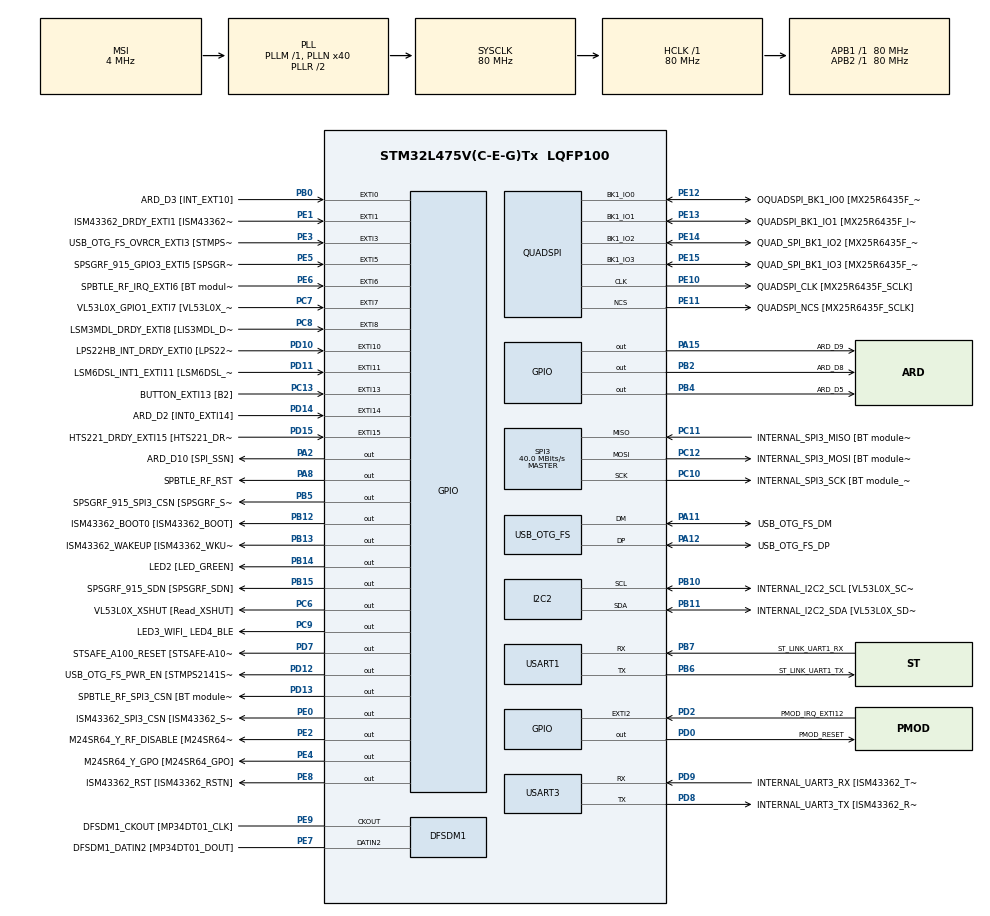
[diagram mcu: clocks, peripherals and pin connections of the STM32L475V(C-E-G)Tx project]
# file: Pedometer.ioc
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Dma.Request0=USART1_TX
Dma.USART1_TX.0.Direction=DMA_MEMORY_TO_PERIPH
Dma.USART1_TX.0.Instance=DMA1_Channel4
Dma.USART1_TX.0.MemDataAlignment=DMA_MDATAALIGN_BYTE
Dma.USART1_TX.0.MemInc=DMA_MINC_ENABLE
Dma.USART1_TX.0.Mode=DMA_NORMAL
Dma.USART1_TX.0.PeriphDataAlignment=DMA_PDATAALIGN_BYTE
Dma.USART1_TX.0.PeriphInc=DMA_PINC_DISABLE
Dma.USART1_TX.0.Priority=DMA_PRIORITY_LOW
I2C2.Timing=0x10909CEC
Mcu.Family=STM32L4
Mcu.Name=STM32L475V(C-E-G)Tx
Mcu.Package=LQFP100
NVIC.DMA1_Channel4_IRQn=true\:0\:0\:false\:false\:true\:false\:true
NVIC.EXTI15_10_IRQn=true\:0\:0\:false\:false\:true\:true\:true
NVIC.EXTI9_5_IRQn=true\:0\:0\:false\:false\:true\:true\:true
NVIC.PriorityGroup=NVIC_PRIORITYGROUP_4
NVIC.USART1_IRQn=true\:0\:0\:false\:false\:true\:true\:true
PA0.GPIO_Label=ARD_D1 [UART4_TX]
PA0.Signal=UART4_TX
PA1.GPIO_Label=ARD_D0 [UART4_RX]
PA1.Signal=UART4_RX
PA10.GPIO_Label=USB_OTG_FS_ID
PA10.Signal=USB_OTG_FS_ID
PA11.GPIO_Label=USB_OTG_FS_DM
PA11.Mode=Device_Only
PA11.Signal=USB_OTG_FS_DM
PA12.GPIO_Label=USB_OTG_FS_DP
PA12.Mode=Device_Only
PA12.Signal=USB_OTG_FS_DP
PA13\ (JTMS-SWDIO).GPIO_Label=SYS_JTMS_SWDIO
PA13\ (JTMS-SWDIO).Mode=Serial_Wire
PA13\ (JTMS-SWDIO).Signal=SYS_JTMS-SWDIO
PA14\ (JTCK-SWCLK).GPIO_Label=SYS_JTCK_SWCLK
PA14\ (JTCK-SWCLK).Mode=Serial_Wire
PA14\ (JTCK-SWCLK).Signal=SYS_JTCK-SWCLK
PA15\ (JTDI).GPIO_Label=ARD_D9
PA15\ (JTDI).Signal=GPIO_Output
PA2.GPIO_Label=ARD_D10 [SPI_SSN]
PA2.Signal=GPIO_Output
PA3.GPIO_Label=ARD_D4
PA3.Signal=S_TIM2_CH4
PA4.GPIO_Label=ARD_D7
PA4.Signal=ADCx_IN9
PA5.GPIO_Label=ARD_D13 [SPI1_SCK]
PA5.Signal=SPI1_SCK
PA6.GPIO_Label=ARD_D12 [SPI1_MISO]
PA6.Signal=SPI1_MISO
PA7.GPIO_Label=ARD_D11 [SPI1_MOSI]
PA7.Signal=SPI1_MOSI
PA8.GPIO_Label=SPBTLE_RF_RST
PA8.Signal=GPIO_Output
PA9.GPIO_Label=USB_OTG_FS_VBUS [STMPS2141STR_OUT]
PA9.Signal=USB_OTG_FS_VBUS
PB0.GPIO_Label=ARD_D3 [INT_EXT10]
PB0.Signal=GPXTI0
PB1.GPIO_Label=ARD_D6 [ADC1_IN6]
PB1.Signal=ADCx_IN16
PB10.GPIO_Label=INTERNAL_I2C2_SCL [VL53L0X_SCL]
PB10.Mode=I2C
PB10.Signal=I2C2_SCL
PB11.GPIO_Label=INTERNAL_I2C2_SDA [VL53L0X_SDA]
PB11.Mode=I2C
PB11.Signal=I2C2_SDA
PB12.GPIO_Label=ISM43362_BOOT0 [ISM43362_BOOT]
PB12.Signal=GPIO_Output
PB13.GPIO_Label=ISM43362_WAKEUP [ISM43362_WKUP]
PB13.Signal=GPIO_Output
PB14.GPIO_Label=LED2 [LED_GREEN]
PB14.Signal=GPIO_Output
PB15.GPIO_Label=SPSGRF_915_SDN [SPSGRF_SDN]
PB15.Signal=GPIO_Output
PB2.GPIO_Label=ARD_D8
PB2.Signal=GPIO_Output
PB3\ (JTDO-TRACESWO).GPIO_Label=SYS_JTD0_SWO
PB3\ (JTDO-TRACESWO).Signal=SYS_JTDO-SWO
PB4\ (NJTRST).GPIO_Label=ARD_D5
PB4\ (NJTRST).Signal=GPIO_Output
PB5.GPIO_Label=SPSGRF_915_SPI3_CSN [SPSGRF_SPI_CS]
PB5.PinState=GPIO_PIN_SET
PB5.Signal=GPIO_Output
PB6.GPIO_Label=ST_LINK_UART1_TX
PB6.Mode=Asynchronous
PB6.Signal=USART1_TX
PB7.GPIO_Label=ST_LINK_UART1_RX
PB7.Mode=Asynchronous
PB7.Signal=USART1_RX
PB8.GPIO_Label=ARD_D15 [I2C1_SCL]
PB8.Signal=I2C1_SCL
PB9.GPIO_Label=ARD_D14 [I2C1_SDA]
PB9.Signal=I2C1_SDA
PC0.GPIO_Label=ARD_A5 [ADC]
PC0.Signal=ADCx_IN1
PC1.GPIO_Label=ARD_A4 [ADC]
PC1.Signal=ADCx_IN2
PC10.GPIO_Label=INTERNAL_SPI3_SCK [BT module_SPI_SCLK] [ISM43362_SCK]
PC10.Mode=Full_Duplex_Master
PC10.Signal=SPI3_SCK
PC11.GPIO_Label=INTERNAL_SPI3_MISO [BT module_SPI_MISO] [ISM43362_MISO]
PC11.Mode=Full_Duplex_Master
PC11.Signal=SPI3_MISO
PC12.GPIO_Label=INTERNAL_SPI3_MOSI [BT module_SPI_MOSI] [ISM43362_MOSI]
PC12.Mode=Full_Duplex_Master
PC12.Signal=SPI3_MOSI
PC13.GPIO_Label=BUTTON_EXTI13 [B2]
PC13.GPIO_ModeDefaultEXTI=GPIO_MODE_IT_FALLING
PC13.Signal=GPXTI13
PC14-OSC32_IN\ (PC14).Mode=LSE-External-Oscillator
PC14-OSC32_IN\ (PC14).Signal=RCC_OSC32_IN
PC15-OSC32_OUT\ (PC15).Mode=LSE-External-Oscillator
PC15-OSC32_OUT\ (PC15).Signal=RCC_OSC32_OUT
PC2.GPIO_Label=ARD_A3 [ADC]
PC2.Signal=ADCx_IN3
PC3.GPIO_Label=ARD_A2 [ADC]
PC3.Signal=ADCx_IN4
PC4.GPIO_Label=ARD_A1 [ADC]
PC4.Signal=ADCx_IN13
PC5.GPIO_Label=ARD_A0 [ADC]
PC5.Signal=ADCx_IN14
PC6.GPIO_Label=VL53L0X_XSHUT [Read_XSHUT]
PC6.Signal=GPIO_Output
PC7.GPIO_Label=VL53L0X_GPIO1_EXTI7 [VL53L0X_GPIO1]
PC7.Signal=GPXTI7
PC8.GPIO_Label=LSM3MDL_DRDY_EXTI8 [LIS3MDL_DRDY]
PC8.Signal=GPXTI8
PC9.GPIO_Label=LED3_WIFI_ LED4_BLE
PC9.Signal=GPIO_Output
PD0.GPIO_Label=PMOD_RESET
PD0.Signal=GPIO_Output
PD1.GPIO_Label=PMOD_SPI2_SCK
PD1.Signal=SPI2_SCK
PD10.GPIO_Label=LPS22HB_INT_DRDY_EXTI0 [LPS22HB_INT_DRDY] 
PD10.Signal=GPXTI10
PD11.GPIO_Label=LSM6DSL_INT1_EXTI11 [LSM6DSL_INT1]
PD11.Signal=GPXTI11
PD12.GPIO_Label=USB_OTG_FS_PWR_EN [STMPS2141STR_EN]
PD12.Signal=GPIO_Output
PD13.GPIO_Label=SPBTLE_RF_SPI3_CSN [BT module_SPI_CS]
PD13.PinState=GPIO_PIN_SET
PD13.Signal=GPIO_Output
PD14.GPIO_Label=ARD_D2 [INT0_EXTI14]
PD14.Signal=GPXTI14
PD15.GPIO_Label=HTS221_DRDY_EXTI15 [HTS221_DRDY]
PD15.Signal=GPXTI15
PD2.GPIO_Label=PMOD_IRQ_EXTI12
PD2.Signal=GPXTI2
PD3.GPIO_Label=PMOD_UART2_CTS
PD3.Signal=USART2_CTS
PD4.GPIO_Label=PMOD_UART2_RTS
PD4.Signal=USART2_RTS
PD5.GPIO_Label=PMOD_UART2_TX
PD5.Signal=USART2_TX
PD6.GPIO_Label=PMOD_UART2_RX
PD6.Signal=USART2_RX
PD7.GPIO_Label=STSAFE_A100_RESET [STSAFE-A100_RESET]
PD7.Signal=GPIO_Output
PD8.GPIO_Label=INTERNAL_UART3_TX [ISM43362_RX]
PD8.Mode=Asynchronous
PD8.Signal=USART3_TX
PD9.GPIO_Label=INTERNAL_UART3_RX [ISM43362_TX]
PD9.Mode=Asynchronous
PD9.Signal=USART3_RX
PE0.GPIO_Label=ISM43362_SPI3_CSN [ISM43362_SSN]
PE0.PinState=GPIO_PIN_SET
PE0.Signal=GPIO_Output
PE1.GPIO_Label=ISM43362_DRDY_EXTI1 [ISM43362_DATARDY]
PE1.Signal=GPXTI1
PE10.GPIO_Label=QUADSPI_CLK [MX25R6435F_SCLK]
PE10.Mode=Single Bank
PE10.Signal=QUADSPI_CLK
PE11.GPIO_Label=QUADSPI_NCS [MX25R6435F_SCLK]
PE11.Mode=Single Bank
PE11.Signal=QUADSPI_NCS
PE12.GPIO_Label=OQUADSPI_BK1_IO0 [MX25R6435F_IO0]
PE12.Mode=Single Bank
PE12.Signal=QUADSPI_BK1_IO0
PE13.GPIO_Label=QUADSPI_BK1_IO1 [MX25R6435F_IO1]
PE13.Mode=Single Bank
PE13.Signal=QUADSPI_BK1_IO1
PE14.GPIO_Label=QUAD_SPI_BK1_IO2 [MX25R6435F_IO2]
PE14.Mode=Single Bank
PE14.Signal=QUADSPI_BK1_IO2
PE15.GPIO_Label=QUAD_SPI_BK1_IO3 [MX25R6435F_IO3]
PE15.Mode=Single Bank
PE15.Signal=QUADSPI_BK1_IO3
PE2.GPIO_Label=M24SR64_Y_RF_DISABLE [M24SR64_RFDIS]
PE2.Signal=GPIO_Output
PE3.GPIO_Label=USB_OTG_FS_OVRCR_EXTI3 [STMPS2141STR_FAULT]
PE3.Signal=GPXTI3
PE4.GPIO_Label=M24SR64_Y_GPO [M24SR64_GPO]
PE4.Signal=GPIO_Output
PE5.GPIO_Label=SPSGRF_915_GPIO3_EXTI5 [SPSGRF_GPIO_3]
PE5.Signal=GPXTI5
PE6.GPIO_Label=SPBTLE_RF_IRQ_EXTI6 [BT module_SPI_IRQ]
PE6.Signal=GPXTI6
PE7.GPIO_Label=DFSDM1_DATIN2 [MP34DT01_DOUT]
PE7.Signal=S_DATAIN2DFSDM1
PE8.GPIO_Label=ISM43362_RST [ISM43362_RSTN]
PE8.Signal=GPIO_Output
PE9.GPIO_Label=DFSDM1_CKOUT [MP34DT01_CLK]
PE9.Signal=S_CKOUTDFSDM1
ProjectManager.HeapSize=0x200
ProjectManager.StackSize=0x400
ProjectManager.TargetToolchain=STM32CubeIDE
RCC.ADCFreq_Value=48000000
RCC.AHBFreq_Value=80000000
RCC.APB1Freq_Value=80000000
RCC.APB1TimFreq_Value=80000000
RCC.APB2Freq_Value=80000000
RCC.APB2TimFreq_Value=80000000
RCC.CortexFreq_Value=80000000
RCC.HCLKFreq_Value=80000000
RCC.HSE_VALUE=8000000
RCC.HSI_VALUE=16000000
RCC.MSI_VALUE=4000000
RCC.PLLN=40
RCC.PLLSAI1N=24
RCC.SYSCLKFreq_VALUE=80000000
RCC.SYSCLKSource=RCC_SYSCLKSOURCE_PLLCLK
RCC.USBFreq_Value=48000000
RCC.VCOOutputFreq_Value=160000000
SH.ADCx_IN1.0=ADC1_IN1
SH.ADCx_IN13.0=ADC1_IN13
SH.ADCx_IN14.0=ADC1_IN14
SH.ADCx_IN16.0=ADC1_IN16
SH.ADCx_IN2.0=ADC1_IN2
SH.ADCx_IN3.0=ADC1_IN3
SH.ADCx_IN4.0=ADC1_IN4
SH.ADCx_IN9.0=ADC1_IN9
SH.S_CKOUTDFSDM1.0=DFSDM1_CKOUT,CKOUT
SH.S_CKOUTDFSDM1.1=DFSDM1_CKOUT,PDM_SPI_Input_from_ch12_and_Internal_Clock
SH.S_DATAIN2DFSDM1.0=DFSDM1_DATIN2,PDM_SPI_Input_from_ch12_and_Internal_Clock
SH.S_TIM2_CH4.0=TIM2_CH4
SPI3.CalculateBaudRate=40.0 MBits/s
SPI3.Direction=SPI_DIRECTION_2LINES
SPI3.Mode=SPI_MODE_MASTER
SPI3.VirtualType=VM_MASTER
USART1.VirtualMode-Asynchronous=VM_ASYNC
USART3.VirtualMode-Asynchronous=VM_ASYNC
USB_OTG_FS.VirtualMode=Device_Only
board=B-L475E-IOT01A1

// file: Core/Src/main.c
/* USER CODE BEGIN Header */
/**
 * *****************************************************************************
 * Name: Jonathan Dean
 * Pedometer testing
 * Program Summary:
 * This program reads Temperature and Humidity values. When a button is pressed
 * (PC13), the program switches to reading Accelerometer values. When pressed
 * again, it switches back to reading Temperature and Humidity.
 * *****************************************************************************
  ******************************************************************************
  * @file           : main.c
  * @brief          : Main program body
  ******************************************************************************
  * @attention
  *
  * <h2><center>&copy; Copyright (c) 2020 STMicroelectronics.
  * All rights reserved.</center></h2>
  *
  * This software component is licensed by ST under BSD 3-Clause license,
  * the "License"; You may not use this file except in compliance with the
  * License. You may obtain a copy of the License at:
  *                        opensource.org/licenses/BSD-3-Clause
  *
  ******************************************************************************
  */
/* USER CODE END Header */
#include "main.h"

/* USER CODE BEGIN Includes */
#include <stdint.h>
#include "DebugUART.h"
#include "Time.h" // Custom Time Library"
#include "SensorManager.h"
#include "Pedometer.h"

/* USER CODE END Includes */

/* USER CODE BEGIN PD */
#define BUTTON_DEBOUNCE_TIME_MS MS(100)
/* USER CODE END PD */

DFSDM_Channel_HandleTypeDef hdfsdm1_channel1;

I2C_HandleTypeDef hi2c2;

QSPI_HandleTypeDef hqspi;

SPI_HandleTypeDef hspi3;

UART_HandleTypeDef huart1;
UART_HandleTypeDef huart3;
DMA_HandleTypeDef hdma_usart1_tx;

PCD_HandleTypeDef hpcd_USB_OTG_FS;

void SystemClock_Config(void);
static void MX_GPIO_Init(void);
static void MX_DMA_Init(void);
static void MX_DFSDM1_Init(void);
static void MX_I2C2_Init(void);
static void MX_QUADSPI_Init(void);
static void MX_SPI3_Init(void);
static void MX_USART1_UART_Init(void);
static void MX_USART3_UART_Init(void);
static void MX_USB_OTG_FS_PCD_Init(void);

int main(void)
{

  /* MCU Configuration--------------------------------------------------------*/

  /* Reset of all peripherals, Initializes the Flash interface and the Systick. */
  HAL_Init();

  /* Configure the system clock */
  SystemClock_Config();

  /* USER CODE BEGIN SysInit */
  Time_Init(); // initialize timer
  /* USER CODE END SysInit */

  /* Initialize all configured peripherals */
  MX_GPIO_Init();
  MX_DMA_Init();
  MX_DFSDM1_Init();
  MX_I2C2_Init();
  MX_QUADSPI_Init();
  MX_SPI3_Init();
  MX_USART1_UART_Init();
  MX_USART3_UART_Init();
  MX_USB_OTG_FS_PCD_Init();
  /* USER CODE BEGIN 2 */
  /*if (WIFI_Init() == WIFI_STATUS_OK)
  {
  // Remember not to commit this with actual credentials
	  if (WIFI_Connect("SSID","PASS",WIFI_ECN_WPA2_PSK) != WIFI_STATUS_OK)
	  {
		  uint8_t TARGET_IP[4] = {XXX,XXX,XXX,XXX};
		  if (WIFI_OpenClientConnection(SOC_NUMBER, WIFI_TCP_PROTOCOL, "XXXXXXX", TARGET_IP, PORT, L_PORT) == WIFI_STATUS_OK)
		  {

		  }
	  }
  }
  else
  {
	// Wifi Failed to Initialize
  }*/
  DebugUARTInit(&huart1); // initialize uart debug readout

  //SensorInit(STTemperature);
  //SensorInit(STHumidity);
  //SensorInit(STAccelerometerX);
  //SensorInit(STAccelerometerY);
  //SensorInit(STAccelerometerZ);
  //SensorInit(STGyroscopeX);
  //SensorInit(STGyroscopeY);
  //SensorInit(STGyroscopeZ);
  PedometerInit();
  //EnableSensor(STTemperature);
  //EnableSensor(STHumidity);

  /* USER CODE END 2 */

  /* Infinite loop */
  while (1)
  {

    /* USER CODE BEGIN 3 */

	  SensorTask();
	  PedometerTask();

  }
  /* USER CODE END 3 */
}

void SystemClock_Config(void)
{
  RCC_OscInitTypeDef RCC_OscInitStruct = {0};
  RCC_ClkInitTypeDef RCC_ClkInitStruct = {0};
  RCC_PeriphCLKInitTypeDef PeriphClkInit = {0};

  /** Configure LSE Drive Capability
  */
  HAL_PWR_EnableBkUpAccess();
  __HAL_RCC_LSEDRIVE_CONFIG(RCC_LSEDRIVE_LOW);
  /** Initializes the RCC Oscillators according to the specified parameters
  * in the RCC_OscInitTypeDef structure.
  */
  RCC_OscInitStruct.OscillatorType = RCC_OSCILLATORTYPE_LSE|RCC_OSCILLATORTYPE_MSI;
  RCC_OscInitStruct.LSEState = RCC_LSE_ON;
  RCC_OscInitStruct.MSIState = RCC_MSI_ON;
  RCC_OscInitStruct.MSICalibrationValue = 0;
  RCC_OscInitStruct.MSIClockRange = RCC_MSIRANGE_6;
  RCC_OscInitStruct.PLL.PLLState = RCC_PLL_ON;
  RCC_OscInitStruct.PLL.PLLSource = RCC_PLLSOURCE_MSI;
  RCC_OscInitStruct.PLL.PLLM = 1;
  RCC_OscInitStruct.PLL.PLLN = 40;
  RCC_OscInitStruct.PLL.PLLP = RCC_PLLP_DIV7;
  RCC_OscInitStruct.PLL.PLLQ = RCC_PLLQ_DIV2;
  RCC_OscInitStruct.PLL.PLLR = RCC_PLLR_DIV2;
  if (HAL_RCC_OscConfig(&RCC_OscInitStruct) != HAL_OK)
  {
    Error_Handler();
  }
  /** Initializes the CPU, AHB and APB buses clocks
  */
  RCC_ClkInitStruct.ClockType = RCC_CLOCKTYPE_HCLK|RCC_CLOCKTYPE_SYSCLK
                              |RCC_CLOCKTYPE_PCLK1|RCC_CLOCKTYPE_PCLK2;
  RCC_ClkInitStruct.SYSCLKSource = RCC_SYSCLKSOURCE_PLLCLK;
  RCC_ClkInitStruct.AHBCLKDivider = RCC_SYSCLK_DIV1;
  RCC_ClkInitStruct.APB1CLKDivider = RCC_HCLK_DIV1;
  RCC_ClkInitStruct.APB2CLKDivider = RCC_HCLK_DIV1;

  if (HAL_RCC_ClockConfig(&RCC_ClkInitStruct, FLASH_LATENCY_4) != HAL_OK)
  {
    Error_Handler();
  }
  PeriphClkInit.PeriphClockSelection = RCC_PERIPHCLK_USART1|RCC_PERIPHCLK_USART3
                              |RCC_PERIPHCLK_I2C2|RCC_PERIPHCLK_DFSDM1
                              |RCC_PERIPHCLK_USB;
  PeriphClkInit.Usart1ClockSelection = RCC_USART1CLKSOURCE_PCLK2;
  PeriphClkInit.Usart3ClockSelection = RCC_USART3CLKSOURCE_PCLK1;
  PeriphClkInit.I2c2ClockSelection = RCC_I2C2CLKSOURCE_PCLK1;
  PeriphClkInit.Dfsdm1ClockSelection = RCC_DFSDM1CLKSOURCE_PCLK;
  PeriphClkInit.UsbClockSelection = RCC_USBCLKSOURCE_PLLSAI1;
  PeriphClkInit.PLLSAI1.PLLSAI1Source = RCC_PLLSOURCE_MSI;
  PeriphClkInit.PLLSAI1.PLLSAI1M = 1;
  PeriphClkInit.PLLSAI1.PLLSAI1N = 24;
  PeriphClkInit.PLLSAI1.PLLSAI1P = RCC_PLLP_DIV7;
  PeriphClkInit.PLLSAI1.PLLSAI1Q = RCC_PLLQ_DIV2;
  PeriphClkInit.PLLSAI1.PLLSAI1R = RCC_PLLR_DIV2;
  PeriphClkInit.PLLSAI1.PLLSAI1ClockOut = RCC_PLLSAI1_48M2CLK;
  if (HAL_RCCEx_PeriphCLKConfig(&PeriphClkInit) != HAL_OK)
  {
    Error_Handler();
  }
  /** Configure the main internal regulator output voltage
  */
  if (HAL_PWREx_ControlVoltageScaling(PWR_REGULATOR_VOLTAGE_SCALE1) != HAL_OK)
  {
    Error_Handler();
  }
  /** Enable MSI Auto calibration
  */
  HAL_RCCEx_EnableMSIPLLMode();
}

static void MX_DFSDM1_Init(void)
{

  hdfsdm1_channel1.Instance = DFSDM1_Channel1;
  hdfsdm1_channel1.Init.OutputClock.Activation = ENABLE;
  hdfsdm1_channel1.Init.OutputClock.Selection = DFSDM_CHANNEL_OUTPUT_CLOCK_SYSTEM;
  hdfsdm1_channel1.Init.OutputClock.Divider = 2;
  hdfsdm1_channel1.Init.Input.Multiplexer = DFSDM_CHANNEL_EXTERNAL_INPUTS;
  hdfsdm1_channel1.Init.Input.DataPacking = DFSDM_CHANNEL_STANDARD_MODE;
  hdfsdm1_channel1.Init.Input.Pins = DFSDM_CHANNEL_FOLLOWING_CHANNEL_PINS;
  hdfsdm1_channel1.Init.SerialInterface.Type = DFSDM_CHANNEL_SPI_RISING;
  hdfsdm1_channel1.Init.SerialInterface.SpiClock = DFSDM_CHANNEL_SPI_CLOCK_INTERNAL;
  hdfsdm1_channel1.Init.Awd.FilterOrder = DFSDM_CHANNEL_FASTSINC_ORDER;
  hdfsdm1_channel1.Init.Awd.Oversampling = 1;
  hdfsdm1_channel1.Init.Offset = 0;
  hdfsdm1_channel1.Init.RightBitShift = 0x00;
  if (HAL_DFSDM_ChannelInit(&hdfsdm1_channel1) != HAL_OK)
  {
    Error_Handler();
  }

}

static void MX_I2C2_Init(void)
{

  hi2c2.Instance = I2C2;
  hi2c2.Init.Timing = 0x10909CEC;
  hi2c2.Init.OwnAddress1 = 0;
  hi2c2.Init.AddressingMode = I2C_ADDRESSINGMODE_7BIT;
  hi2c2.Init.DualAddressMode = I2C_DUALADDRESS_DISABLE;
  hi2c2.Init.OwnAddress2 = 0;
  hi2c2.Init.OwnAddress2Masks = I2C_OA2_NOMASK;
  hi2c2.Init.GeneralCallMode = I2C_GENERALCALL_DISABLE;
  hi2c2.Init.NoStretchMode = I2C_NOSTRETCH_DISABLE;
  if (HAL_I2C_Init(&hi2c2) != HAL_OK)
  {
    Error_Handler();
  }
  /** Configure Analogue filter
  */
  if (HAL_I2CEx_ConfigAnalogFilter(&hi2c2, I2C_ANALOGFILTER_ENABLE) != HAL_OK)
  {
    Error_Handler();
  }
  /** Configure Digital filter
  */
  if (HAL_I2CEx_ConfigDigitalFilter(&hi2c2, 0) != HAL_OK)
  {
    Error_Handler();
  }

}

static void MX_QUADSPI_Init(void)
{

  /* QUADSPI parameter configuration*/
  hqspi.Instance = QUADSPI;
  hqspi.Init.ClockPrescaler = 255;
  hqspi.Init.FifoThreshold = 1;
  hqspi.Init.SampleShifting = QSPI_SAMPLE_SHIFTING_NONE;
  hqspi.Init.FlashSize = 1;
  hqspi.Init.ChipSelectHighTime = QSPI_CS_HIGH_TIME_1_CYCLE;
  hqspi.Init.ClockMode = QSPI_CLOCK_MODE_0;
  if (HAL_QSPI_Init(&hqspi) != HAL_OK)
  {
    Error_Handler();
  }

}

static void MX_SPI3_Init(void)
{

  /* SPI3 parameter configuration*/
  hspi3.Instance = SPI3;
  hspi3.Init.Mode = SPI_MODE_MASTER;
  hspi3.Init.Direction = SPI_DIRECTION_2LINES;
  hspi3.Init.DataSize = SPI_DATASIZE_4BIT;
  hspi3.Init.CLKPolarity = SPI_POLARITY_LOW;
  hspi3.Init.CLKPhase = SPI_PHASE_1EDGE;
  hspi3.Init.NSS = SPI_NSS_SOFT;
  hspi3.Init.BaudRatePrescaler = SPI_BAUDRATEPRESCALER_2;
  hspi3.Init.FirstBit = SPI_FIRSTBIT_MSB;
  hspi3.Init.TIMode = SPI_TIMODE_DISABLE;
  hspi3.Init.CRCCalculation = SPI_CRCCALCULATION_DISABLE;
  hspi3.Init.CRCPolynomial = 7;
  hspi3.Init.CRCLength = SPI_CRC_LENGTH_DATASIZE;
  hspi3.Init.NSSPMode = SPI_NSS_PULSE_ENABLE;
  if (HAL_SPI_Init(&hspi3) != HAL_OK)
  {
    Error_Handler();
  }

}

static void MX_USART1_UART_Init(void)
{

  huart1.Instance = USART1;
  huart1.Init.BaudRate = 115200;
  huart1.Init.WordLength = UART_WORDLENGTH_8B;
  huart1.Init.StopBits = UART_STOPBITS_1;
  huart1.Init.Parity = UART_PARITY_NONE;
  huart1.Init.Mode = UART_MODE_TX_RX;
  huart1.Init.HwFlowCtl = UART_HWCONTROL_NONE;
  huart1.Init.OverSampling = UART_OVERSAMPLING_16;
  huart1.Init.OneBitSampling = UART_ONE_BIT_SAMPLE_DISABLE;
  huart1.AdvancedInit.AdvFeatureInit = UART_ADVFEATURE_NO_INIT;
  if (HAL_UART_Init(&huart1) != HAL_OK)
  {
    Error_Handler();
  }

}

static void MX_USART3_UART_Init(void)
{

  huart3.Instance = USART3;
  huart3.Init.BaudRate = 115200;
  huart3.Init.WordLength = UART_WORDLENGTH_8B;
  huart3.Init.StopBits = UART_STOPBITS_1;
  huart3.Init.Parity = UART_PARITY_NONE;
  huart3.Init.Mode = UART_MODE_TX_RX;
  huart3.Init.HwFlowCtl = UART_HWCONTROL_NONE;
  huart3.Init.OverSampling = UART_OVERSAMPLING_16;
  huart3.Init.OneBitSampling = UART_ONE_BIT_SAMPLE_DISABLE;
  huart3.AdvancedInit.AdvFeatureInit = UART_ADVFEATURE_NO_INIT;
  if (HAL_UART_Init(&huart3) != HAL_OK)
  {
    Error_Handler();
  }

}

static void MX_USB_OTG_FS_PCD_Init(void)
{

  hpcd_USB_OTG_FS.Instance = USB_OTG_FS;
  hpcd_USB_OTG_FS.Init.dev_endpoints = 6;
  hpcd_USB_OTG_FS.Init.speed = PCD_SPEED_FULL;
  hpcd_USB_OTG_FS.Init.phy_itface = PCD_PHY_EMBEDDED;
  hpcd_USB_OTG_FS.Init.Sof_enable = DISABLE;
  hpcd_USB_OTG_FS.Init.low_power_enable = DISABLE;
  hpcd_USB_OTG_FS.Init.lpm_enable = DISABLE;
  hpcd_USB_OTG_FS.Init.battery_charging_enable = DISABLE;
  hpcd_USB_OTG_FS.Init.use_dedicated_ep1 = DISABLE;
  hpcd_USB_OTG_FS.Init.vbus_sensing_enable = DISABLE;
  if (HAL_PCD_Init(&hpcd_USB_OTG_FS) != HAL_OK)
  {
    Error_Handler();
  }

}

static void MX_DMA_Init(void)
{

  /* DMA controller clock enable */
  __HAL_RCC_DMA1_CLK_ENABLE();

  /* DMA interrupt init */
  /* DMA1_Channel4_IRQn interrupt configuration */
  HAL_NVIC_SetPriority(DMA1_Channel4_IRQn, 0, 0);
  HAL_NVIC_EnableIRQ(DMA1_Channel4_IRQn);

}

static void MX_GPIO_Init(void)
{
  GPIO_InitTypeDef GPIO_InitStruct = {0};

  /* GPIO Ports Clock Enable */
  __HAL_RCC_GPIOE_CLK_ENABLE();
  __HAL_RCC_GPIOC_CLK_ENABLE();
  __HAL_RCC_GPIOH_CLK_ENABLE();
  __HAL_RCC_GPIOA_CLK_ENABLE();
  __HAL_RCC_GPIOB_CLK_ENABLE();
  __HAL_RCC_GPIOD_CLK_ENABLE();

  /*Configure GPIO pin Output Level */
  HAL_GPIO_WritePin(GPIOE, M24SR64_Y_RF_DISABLE_Pin|M24SR64_Y_GPO_Pin|ISM43362_RST_Pin, GPIO_PIN_RESET);

  /*Configure GPIO pin Output Level */
  HAL_GPIO_WritePin(GPIOA, ARD_D10_Pin|SPBTLE_RF_RST_Pin|ARD_D9_Pin, GPIO_PIN_RESET);

  /*Configure GPIO pin Output Level */
  HAL_GPIO_WritePin(GPIOB, ARD_D8_Pin|ISM43362_BOOT0_Pin|ISM43362_WAKEUP_Pin|LED2_Pin
                          |SPSGRF_915_SDN_Pin|ARD_D5_Pin, GPIO_PIN_RESET);

  /*Configure GPIO pin Output Level */
  HAL_GPIO_WritePin(GPIOD, USB_OTG_FS_PWR_EN_Pin|PMOD_RESET_Pin|STSAFE_A100_RESET_Pin, GPIO_PIN_RESET);

  /*Configure GPIO pin Output Level */
  HAL_GPIO_WritePin(SPBTLE_RF_SPI3_CSN_GPIO_Port, SPBTLE_RF_SPI3_CSN_Pin, GPIO_PIN_SET);

  /*Configure GPIO pin Output Level */
  HAL_GPIO_WritePin(GPIOC, VL53L0X_XSHUT_Pin|LED3_WIFI__LED4_BLE_Pin, GPIO_PIN_RESET);

  /*Configure GPIO pin Output Level */
  HAL_GPIO_WritePin(SPSGRF_915_SPI3_CSN_GPIO_Port, SPSGRF_915_SPI3_CSN_Pin, GPIO_PIN_SET);

  /*Configure GPIO pin Output Level */
  HAL_GPIO_WritePin(ISM43362_SPI3_CSN_GPIO_Port, ISM43362_SPI3_CSN_Pin, GPIO_PIN_SET);

  /*Configure GPIO pins : M24SR64_Y_RF_DISABLE_Pin M24SR64_Y_GPO_Pin ISM43362_RST_Pin ISM43362_SPI3_CSN_Pin */
  GPIO_InitStruct.Pin = M24SR64_Y_RF_DISABLE_Pin|M24SR64_Y_GPO_Pin|ISM43362_RST_Pin|ISM43362_SPI3_CSN_Pin;
  GPIO_InitStruct.Mode = GPIO_MODE_OUTPUT_PP;
  GPIO_InitStruct.Pull = GPIO_NOPULL;
  GPIO_InitStruct.Speed = GPIO_SPEED_FREQ_LOW;
  HAL_GPIO_Init(GPIOE, &GPIO_InitStruct);

  /*Configure GPIO pins : USB_OTG_FS_OVRCR_EXTI3_Pin SPSGRF_915_GPIO3_EXTI5_Pin SPBTLE_RF_IRQ_EXTI6_Pin ISM43362_DRDY_EXTI1_Pin */
  GPIO_InitStruct.Pin = USB_OTG_FS_OVRCR_EXTI3_Pin|SPSGRF_915_GPIO3_EXTI5_Pin|SPBTLE_RF_IRQ_EXTI6_Pin|ISM43362_DRDY_EXTI1_Pin;
  GPIO_InitStruct.Mode = GPIO_MODE_IT_RISING;
  GPIO_InitStruct.Pull = GPIO_NOPULL;
  HAL_GPIO_Init(GPIOE, &GPIO_InitStruct);

  /*Configure GPIO pin : BUTTON_EXTI13_Pin */
  GPIO_InitStruct.Pin = BUTTON_EXTI13_Pin;
  GPIO_InitStruct.Mode = GPIO_MODE_IT_FALLING;
  GPIO_InitStruct.Pull = GPIO_NOPULL;
  HAL_GPIO_Init(BUTTON_EXTI13_GPIO_Port, &GPIO_InitStruct);

  /*Configure GPIO pins : PH0 PH1 */
  GPIO_InitStruct.Pin = GPIO_PIN_0|GPIO_PIN_1;
  GPIO_InitStruct.Mode = GPIO_MODE_ANALOG;
  GPIO_InitStruct.Pull = GPIO_NOPULL;
  HAL_GPIO_Init(GPIOH, &GPIO_InitStruct);

  /*Configure GPIO pins : ARD_A5_Pin ARD_A4_Pin ARD_A3_Pin ARD_A2_Pin
                           ARD_A1_Pin ARD_A0_Pin */
  GPIO_InitStruct.Pin = ARD_A5_Pin|ARD_A4_Pin|ARD_A3_Pin|ARD_A2_Pin
                          |ARD_A1_Pin|ARD_A0_Pin;
  GPIO_InitStruct.Mode = GPIO_MODE_ANALOG_ADC_CONTROL;
  GPIO_InitStruct.Pull = GPIO_NOPULL;
  HAL_GPIO_Init(GPIOC, &GPIO_InitStruct);

  /*Configure GPIO pins : ARD_D1_Pin ARD_D0_Pin */
  GPIO_InitStruct.Pin = ARD_D1_Pin|ARD_D0_Pin;
  GPIO_InitStruct.Mode = GPIO_MODE_AF_PP;
  GPIO_InitStruct.Pull = GPIO_NOPULL;
  GPIO_InitStruct.Speed = GPIO_SPEED_FREQ_VERY_HIGH;
  GPIO_InitStruct.Alternate = GPIO_AF8_UART4;
  HAL_GPIO_Init(GPIOA, &GPIO_InitStruct);

  /*Configure GPIO pins : ARD_D10_Pin SPBTLE_RF_RST_Pin ARD_D9_Pin */
  GPIO_InitStruct.Pin = ARD_D10_Pin|SPBTLE_RF_RST_Pin|ARD_D9_Pin;
  GPIO_InitStruct.Mode = GPIO_MODE_OUTPUT_PP;
  GPIO_InitStruct.Pull = GPIO_NOPULL;
  GPIO_InitStruct.Speed = GPIO_SPEED_FREQ_LOW;
  HAL_GPIO_Init(GPIOA, &GPIO_InitStruct);

  /*Configure GPIO pin : ARD_D4_Pin */
  GPIO_InitStruct.Pin = ARD_D4_Pin;
  GPIO_InitStruct.Mode = GPIO_MODE_AF_PP;
  GPIO_InitStruct.Pull = GPIO_NOPULL;
  GPIO_InitStruct.Speed = GPIO_SPEED_FREQ_LOW;
  GPIO_InitStruct.Alternate = GPIO_AF1_TIM2;
  HAL_GPIO_Init(ARD_D4_GPIO_Port, &GPIO_InitStruct);

  /*Configure GPIO pin : ARD_D7_Pin */
  GPIO_InitStruct.Pin = ARD_D7_Pin;
  GPIO_InitStruct.Mode = GPIO_MODE_ANALOG_ADC_CONTROL;
  GPIO_InitStruct.Pull = GPIO_NOPULL;
  HAL_GPIO_Init(ARD_D7_GPIO_Port, &GPIO_InitStruct);

  /*Configure GPIO pins : ARD_D13_Pin ARD_D12_Pin ARD_D11_Pin */
  GPIO_InitStruct.Pin = ARD_D13_Pin|ARD_D12_Pin|ARD_D11_Pin;
  GPIO_InitStruct.Mode = GPIO_MODE_AF_PP;
  GPIO_InitStruct.Pull = GPIO_NOPULL;
  GPIO_InitStruct.Speed = GPIO_SPEED_FREQ_VERY_HIGH;
  GPIO_InitStruct.Alternate = GPIO_AF5_SPI1;
  HAL_GPIO_Init(GPIOA, &GPIO_InitStruct);

  /*Configure GPIO pin : ARD_D3_Pin */
  GPIO_InitStruct.Pin = ARD_D3_Pin;
  GPIO_InitStruct.Mode = GPIO_MODE_IT_RISING;
  GPIO_InitStruct.Pull = GPIO_NOPULL;
  HAL_GPIO_Init(ARD_D3_GPIO_Port, &GPIO_InitStruct);

  /*Configure GPIO pin : ARD_D6_Pin */
  GPIO_InitStruct.Pin = ARD_D6_Pin;
  GPIO_InitStruct.Mode = GPIO_MODE_ANALOG_ADC_CONTROL;
  GPIO_InitStruct.Pull = GPIO_NOPULL;
  HAL_GPIO_Init(ARD_D6_GPIO_Port, &GPIO_InitStruct);

  /*Configure GPIO pins : ARD_D8_Pin ISM43362_BOOT0_Pin ISM43362_WAKEUP_Pin LED2_Pin
                           SPSGRF_915_SDN_Pin ARD_D5_Pin SPSGRF_915_SPI3_CSN_Pin */
  GPIO_InitStruct.Pin = ARD_D8_Pin|ISM43362_BOOT0_Pin|ISM43362_WAKEUP_Pin|LED2_Pin
                          |SPSGRF_915_SDN_Pin|ARD_D5_Pin|SPSGRF_915_SPI3_CSN_Pin;
  GPIO_InitStruct.Mode = GPIO_MODE_OUTPUT_PP;
  GPIO_InitStruct.Pull = GPIO_NOPULL;
  GPIO_InitStruct.Speed = GPIO_SPEED_FREQ_LOW;
  HAL_GPIO_Init(GPIOB, &GPIO_InitStruct);

  /*Configure GPIO pins : LPS22HB_INT_DRDY_EXTI0_Pin LSM6DSL_INT1_EXTI11_Pin ARD_D2_Pin HTS221_DRDY_EXTI15_Pin
                           PMOD_IRQ_EXTI12_Pin */
  GPIO_InitStruct.Pin = LPS22HB_INT_DRDY_EXTI0_Pin|LSM6DSL_INT1_EXTI11_Pin|ARD_D2_Pin|HTS221_DRDY_EXTI15_Pin
                          |PMOD_IRQ_EXTI12_Pin;
  GPIO_InitStruct.Mode = GPIO_MODE_IT_RISING;
  GPIO_InitStruct.Pull = GPIO_NOPULL;
  HAL_GPIO_Init(GPIOD, &GPIO_InitStruct);

  /*Configure GPIO pins : USB_OTG_FS_PWR_EN_Pin SPBTLE_RF_SPI3_CSN_Pin PMOD_RESET_Pin STSAFE_A100_RESET_Pin */
  GPIO_InitStruct.Pin = USB_OTG_FS_PWR_EN_Pin|SPBTLE_RF_SPI3_CSN_Pin|PMOD_RESET_Pin|STSAFE_A100_RESET_Pin;
  GPIO_InitStruct.Mode = GPIO_MODE_OUTPUT_PP;
  GPIO_InitStruct.Pull = GPIO_NOPULL;
  GPIO_InitStruct.Speed = GPIO_SPEED_FREQ_LOW;
  HAL_GPIO_Init(GPIOD, &GPIO_InitStruct);

  /*Configure GPIO pins : VL53L0X_XSHUT_Pin LED3_WIFI__LED4_BLE_Pin */
  GPIO_InitStruct.Pin = VL53L0X_XSHUT_Pin|LED3_WIFI__LED4_BLE_Pin;
  GPIO_InitStruct.Mode = GPIO_MODE_OUTPUT_PP;
  GPIO_InitStruct.Pull = GPIO_NOPULL;
  GPIO_InitStruct.Speed = GPIO_SPEED_FREQ_LOW;
  HAL_GPIO_Init(GPIOC, &GPIO_InitStruct);

  /*Configure GPIO pins : VL53L0X_GPIO1_EXTI7_Pin LSM3MDL_DRDY_EXTI8_Pin */
  GPIO_InitStruct.Pin = VL53L0X_GPIO1_EXTI7_Pin|LSM3MDL_DRDY_EXTI8_Pin;
  GPIO_InitStruct.Mode = GPIO_MODE_IT_RISING;
  GPIO_InitStruct.Pull = GPIO_NOPULL;
  HAL_GPIO_Init(GPIOC, &GPIO_InitStruct);

  /*Configure GPIO pin : PMOD_SPI2_SCK_Pin */
  GPIO_InitStruct.Pin = PMOD_SPI2_SCK_Pin;
  GPIO_InitStruct.Mode = GPIO_MODE_AF_PP;
  GPIO_InitStruct.Pull = GPIO_NOPULL;
  GPIO_InitStruct.Speed = GPIO_SPEED_FREQ_VERY_HIGH;
  GPIO_InitStruct.Alternate = GPIO_AF5_SPI2;
  HAL_GPIO_Init(PMOD_SPI2_SCK_GPIO_Port, &GPIO_InitStruct);

  /*Configure GPIO pins : PMOD_UART2_CTS_Pin PMOD_UART2_RTS_Pin PMOD_UART2_TX_Pin PMOD_UART2_RX_Pin */
  GPIO_InitStruct.Pin = PMOD_UART2_CTS_Pin|PMOD_UART2_RTS_Pin|PMOD_UART2_TX_Pin|PMOD_UART2_RX_Pin;
  GPIO_InitStruct.Mode = GPIO_MODE_AF_PP;
  GPIO_InitStruct.Pull = GPIO_NOPULL;
  GPIO_InitStruct.Speed = GPIO_SPEED_FREQ_VERY_HIGH;
  GPIO_InitStruct.Alternate = GPIO_AF7_USART2;
  HAL_GPIO_Init(GPIOD, &GPIO_InitStruct);

  /*Configure GPIO pins : ARD_D15_Pin ARD_D14_Pin */
  GPIO_InitStruct.Pin = ARD_D15_Pin|ARD_D14_Pin;
  GPIO_InitStruct.Mode = GPIO_MODE_AF_OD;
  GPIO_InitStruct.Pull = GPIO_PULLUP;
  GPIO_InitStruct.Speed = GPIO_SPEED_FREQ_VERY_HIGH;
  GPIO_InitStruct.Alternate = GPIO_AF4_I2C1;
  HAL_GPIO_Init(GPIOB, &GPIO_InitStruct);

  /* EXTI interrupt init*/
  HAL_NVIC_SetPriority(EXTI9_5_IRQn, 0, 0);
  HAL_NVIC_EnableIRQ(EXTI9_5_IRQn);

  HAL_NVIC_SetPriority(EXTI15_10_IRQn, 0, 0);
  HAL_NVIC_EnableIRQ(EXTI15_10_IRQn);

}

/* USER CODE BEGIN 4 */
Tick button_debounce_time = 0; // exti13
void HAL_GPIO_EXTI_Callback(uint16_t GPIO_Pin)
{
	switch (GPIO_Pin)
	{
		case (1<<13):
			if (GetTimeSince_ms(button_debounce_time) > BUTTON_DEBOUNCE_TIME_MS) // button debouncing
			{
				button_debounce_time = GetTime_ms();
			}

			break;
		default:
			break;
	}
}
/* USER CODE END 4 */

void Error_Handler(void)
{
}

/************************ (C) COPYRIGHT STMicroelectronics *****END OF FILE****/
